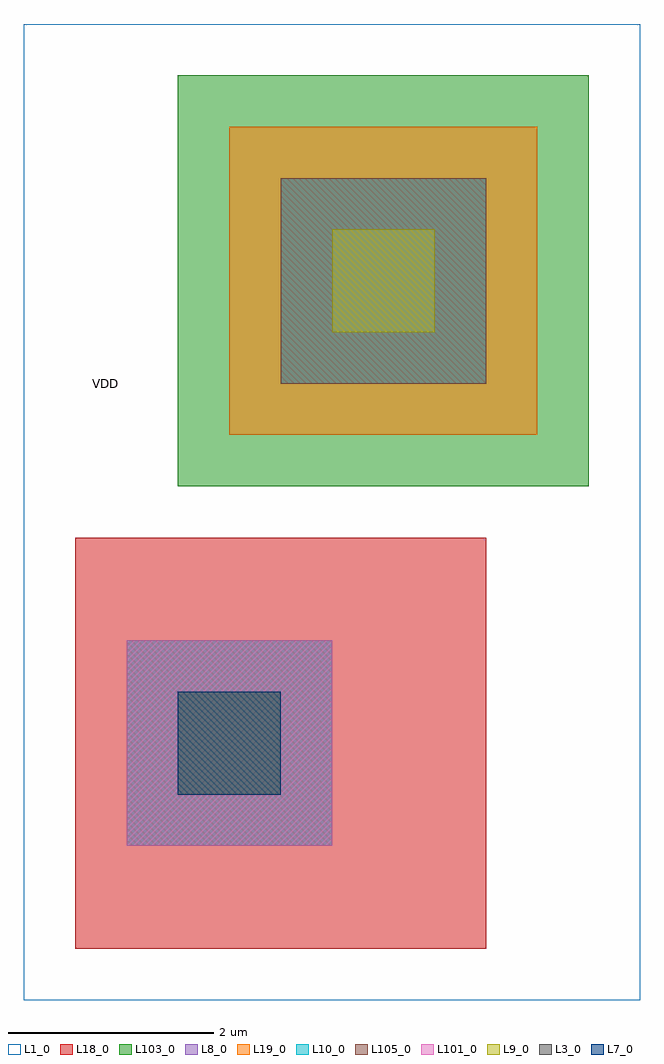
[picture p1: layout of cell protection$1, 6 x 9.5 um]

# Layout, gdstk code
import gdstk
lib = gdstk.Library(unit=1e-6, precision=1e-09)
def R(c, l, rs):  # rectangles x0, y0, x1, y1
    for r in rs: c.add(gdstk.rectangle(r[:2], r[2:], *l))
L1_0 = (1, 0)
L3_0 = (3, 0)
L7_0 = (7, 0)
L8_0 = (8, 0)
L9_0 = (9, 0)
L10_0 = (10, 0)
L18_0 = (18, 0)
L19_0 = (19, 0)
L101_0 = (101, 0)
L103_0 = (103, 0)
L105_0 = (105, 0)

via = lib.new_cell('Via')
R(via, L8_0, [(-1,-1,1,1)])
R(via, L9_0, [(-0.5,-0.5,0.5,0.5)])
R(via, L10_0, [(-1,-1,1,1)])
R(via, L105_0, [(-1,-1,1,1)])
via.add(gdstk.Label('via', (0,0), layer=13, texttype=0))

nsubcont = lib.new_cell('nsubcont')
R(nsubcont, L1_0, [(-2,-2,2,2)])
R(nsubcont, L19_0, [(-1.5,-1.5,1.5,1.5)])
R(nsubcont, L103_0, [(-2,-2,2,2)])
nsubcont.add(gdstk.Label('NScont', (0,0), layer=13, texttype=0))

dcont_1 = lib.new_cell('dcont$1')
R(dcont_1, L3_0, [(-0.5,-0.5,0.5,0.5)])
R(dcont_1, L7_0, [(-0.5,-0.5,0.5,0.5)])
R(dcont_1, L8_0, [(-1,-1,1,1)])
R(dcont_1, L101_0, [(-1,-1,1,1)])
dcont_1.add(gdstk.Label('dcont', (0,0), layer=13, texttype=0))

protection_1 = lib.new_cell('protection$1')
R(protection_1, L1_0, [(2,21.5,8,31)])
R(protection_1, L18_0, [(2.5,22,6.5,26)])
protection_1.add(gdstk.Reference(via, (4,24)))
protection_1.add(gdstk.Reference(nsubcont, (5.5,28.5)))
protection_1.add(gdstk.Reference(via, (5.5,28.5)))
protection_1.add(gdstk.Reference(dcont_1, (4,24)))
protection_1.add(gdstk.Label('VDD', (2.8,27.5), layer=13, texttype=0))

lib.write_gds('protection_1.gds')
